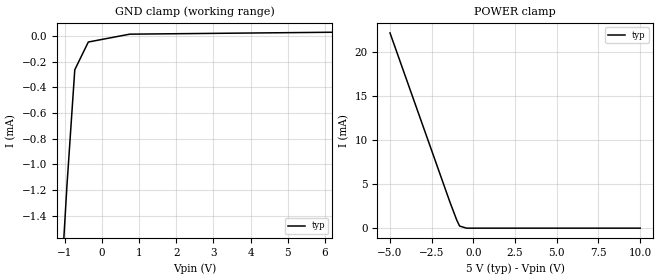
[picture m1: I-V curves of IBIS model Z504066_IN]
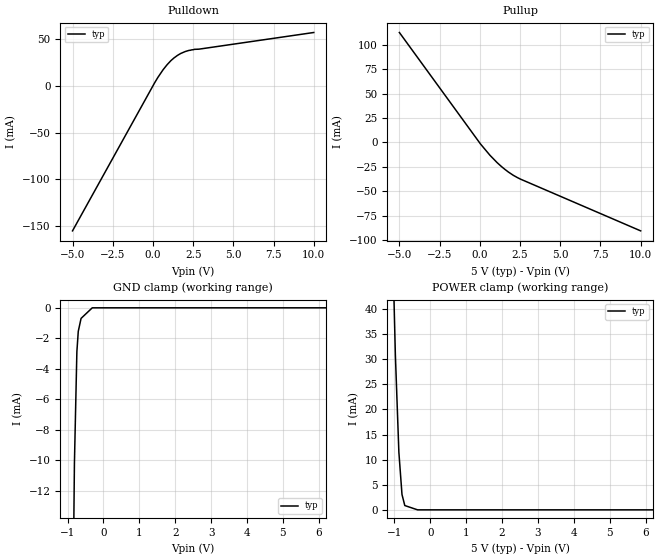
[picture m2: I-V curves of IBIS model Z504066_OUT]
| YOU ARE ONLY AUTHORIZED TO USE THIS SOFTWARE
| ACCORDING TO LICENSOR'S LICENSE RESTRICTIONS.
[IBIS Ver] 3.1
[File Name] mc54hc157aj.ibs
[File Rev] 2.0
[Source] Measured and created by ICX Technology
[Date] Friday 7/14/00 9:08:06 AM
[Copyright]
| (C) COPYRIGHT 1993-2000
| MENTOR GRAPHICS CORPORATION
| ICX STANDARD LIBRARY, ICX PROJECT MODELING,
| ICX CUSTOM MODELING, ICX VENDOR MODEL
| ALL RIGHTS RESERVED.
| THE FOLLOWING ARE TRADEMARKS OR SERVICE MARKS OF
| MENTOR GRAPHICS CORPORATION:ICX (R), ICX STANDARD
| LIBRARY(R), ICX PROJECT MODELING(R), ICX CUSTOM
| MODELING(R), qualityIBIS(TM), MODELVIEWER(TM),
| AND MODELEDITOR(TM)
| ALL COPIES OF SOFTWARE, INCLUDING BUT NOT LIMITED TO
| ANY MODIFICATIONS, ENHANCEMENTS OR DERIVATIVE WORKS,
| MUST CONTAIN ALL MENTOR GRAPHICS CORPORATION'S
| NOTICES AND LEGENDS, INCLUDING THOSE EMBEDDED IN
| SOFTWARE AND THOSE AFFIXED TO SOFTWARE MEDIUM
| AND CONTAINER, AS RECEIVED FROM MENTOR GRAPHICS
| CORPORATION.
|  ZAP Model Builder 2.7
[Component] MC54HC157AJ
[Manufacturer] OnSemiconductor
[Package]
| variable   typ   min   max
R_pkg  .212ohms NA NA
L_pkg  4.758nH NA NA
C_pkg  1.944pF NA NA
[Pin] signal_name  model_name  R_pin  L_pin C_pin
1 B_A Z504066_IN .224 7.258n 2.683p
2 A0 Z504066_IN .216 5.258n 2.19p
3 B0 Z504066_IN .208 3.758n 1.697p
4 Y0 Z504066_OUT .2 2.758n 1.204p
5 A1 Z504066_IN .2 2.758n 1.204p
6 B1 Z504066_IN .208 3.758n 1.697p
7 Y1 Z504066_OUT .216 5.258n 2.19p
8 GND GND .224 7.258n 2.683p
9 Y2 Z504066_OUT .224 7.258n 2.683p
10 B2 Z504066_IN .216 5.258n 2.19p
11 A2 Z504066_IN .208 3.758n 1.697p
12 Y3 Z504066_OUT .2 2.758n 1.204p
13 B3 Z504066_IN .2 2.758n 1.204p
14 A3 Z504066_IN .208 3.758n 1.697p
15 _G Z504066_IN .216 5.258n 2.19p
16 VCC POWER .224 7.258n 2.683p
| Models and submodels in the file (2): Z504066_IN (Input), Z504066_OUT (Output)
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| (C) COPYRIGHT 1993-2000
| MENTOR GRAPHICS CORPORATION
| ICX STANDARD LIBRARY, ICX PROJECT MODELING,
| ICX CUSTOM MODELING, ICX VENDOR MODEL
| ALL RIGHTS RESERVED.
| THE FOLLOWING ARE TRADEMARKS OR SERVICE MARKS OF
| MENTOR GRAPHICS CORPORATION:ICX (R), ICX STANDARD
| LIBRARY(R), ICX PROJECT MODELING(R), ICX CUSTOM
| MODELING(R), qualityIBIS(TM), MODELVIEWER(TM),
| AND MODELEDITOR(TM)
| ALL COPIES OF SOFTWARE, INCLUDING BUT NOT LIMITED TO
| ANY MODIFICATIONS, ENHANCEMENTS OR DERIVATIVE WORKS,
| MUST CONTAIN ALL MENTOR GRAPHICS CORPORATION'S
| NOTICES AND LEGENDS, INCLUDING THOSE EMBEDDED IN
| SOFTWARE AND THOSE AFFIXED TO SOFTWARE MEDIUM
| AND CONTAINER, AS RECEIVED FROM MENTOR GRAPHICS
| CORPORATION.
| Model Application Version 1.89 2/18/99.
[Model] Z504066_IN
Model_type Input
Vinl = 1.000V
Vinh = 3.500V
C_comp 4.000pF NA NA
| variable typ   min   max
[Voltage Range] 5.000V NA NA
[GND Clamp Reference] 0.000V NA NA
[POWER Clamp Reference] 5.000V NA NA
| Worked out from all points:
|   GND clamp passes 1 mA (typ) near -0.90 V on its own axis
[GND Clamp]
-5V       -22.41mA   NA         NA
-1.128V   -2.095mA   NA         NA
-937.3mV  -1.163mA   NA         NA
-727.3mV  -263.5uA   NA         NA
-363.6mV  -47.42uA   NA         NA
749.6mV   13.72uA    NA         NA
10V       39.15uA    NA         NA
[POWER Clamp]
-5V       22.11mA    NA         NA
-1.4V     2.917mA    NA         NA
-1.001V   929.6uA    NA         NA
-828mV    241.5uA    NA         NA
-414mV    0A         NA         NA
10V       0A         NA         NA
| (C) COPYRIGHT 1993-2000
| MENTOR GRAPHICS CORPORATION
| ICX STANDARD LIBRARY, ICX PROJECT MODELING,
| ICX CUSTOM MODELING, ICX VENDOR MODEL
| ALL RIGHTS RESERVED.
| THE FOLLOWING ARE TRADEMARKS OR SERVICE MARKS OF
| MENTOR GRAPHICS CORPORATION:ICX (R), ICX STANDARD
| LIBRARY(R), ICX PROJECT MODELING(R), ICX CUSTOM
| MODELING(R), qualityIBIS(TM), MODELVIEWER(TM),
| AND MODELEDITOR(TM)
| ALL COPIES OF SOFTWARE, INCLUDING BUT NOT LIMITED TO
| ANY MODIFICATIONS, ENHANCEMENTS OR DERIVATIVE WORKS,
| MUST CONTAIN ALL MENTOR GRAPHICS CORPORATION'S
| NOTICES AND LEGENDS, INCLUDING THOSE EMBEDDED IN
| SOFTWARE AND THOSE AFFIXED TO SOFTWARE MEDIUM
| AND CONTAINER, AS RECEIVED FROM MENTOR GRAPHICS
| CORPORATION.
| Model Application Version 1.89 2/18/99.
[Model] Z504066_OUT
Model_type Output
Vref=0.000V
Rref=500.0Mohms
Cref=50.00pF
Vmeas=2.500V
C_comp 8.000pF NA NA
| variable typ   min   max
[Voltage Range] 5.000V NA NA
[POWER Clamp Reference] 5.000V NA NA
[Pullup Reference] 5.000V NA NA
[Pulldown Reference] 0.000V NA NA
[GND Clamp Reference] 0.000V NA NA
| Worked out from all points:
|   slope of the pulldown table from 0 to 0.75 V, typ, clamps not added: 37.8 ohm
|   slope of the pullup table from 0 to 0.75 V, typ, clamps not added: 51.6 ohm
|   GND clamp passes 1 mA (typ) near -0.65 V on its own axis
|   POWER clamp passes 1 mA (typ) near -0.72 V on its own axis
[GND Clamp]
-5V       -969.1mA   NA         NA
-810.2mV  -10.18mA   NA         NA
-742.1mV  -2.886mA   NA         NA
-703.2mV  -1.544mA   NA         NA
-625mV    -693.9uA   NA         NA
-312.5mV  0A         NA         NA
10V       0A         NA         NA
[Pulldown]
-5V       -155.3mA   NA         NA
102.8mV   3.217mA    NA         NA
629.8mV   17.27mA    NA         NA
880.2mV   22.68mA    NA         NA
1.311V    29.97mA    NA         NA
1.724V    34.71mA    NA         NA
2.003V    36.78mA    NA         NA
2.578V    39.15mA    NA         NA
10V       57.21mA    NA         NA
[Pullup]
-5V       112.5mA    NA         NA
43mV      -1.658mA   NA         NA
628mV     -13.15mA   NA         NA
1.079V    -20.79mA   NA         NA
1.357V    -24.91mA   NA         NA
1.572V    -27.81mA   NA         NA
1.787V    -30.49mA   NA         NA
2.08V     -33.7mA    NA         NA
2.318V    -35.9mA    NA         NA
2.515V    -37.54mA   NA         NA
10V       -90.62mA   NA         NA
[POWER Clamp]
-5V       1.179A     NA         NA
-976mV    30.94mA    NA         NA
-878mV    11.48mA    NA         NA
-791mV    3.052mA    NA         NA
-713mV    857.5uA    NA         NA
-356.5mV  0A         NA         NA
10V       0A         NA         NA
[Ramp]
| variable typ min max
dV/dt_r 2.746/613.7p NA NA
dV/dt_f 2.746/747.2p NA NA
R_load = 500.0Ohms
